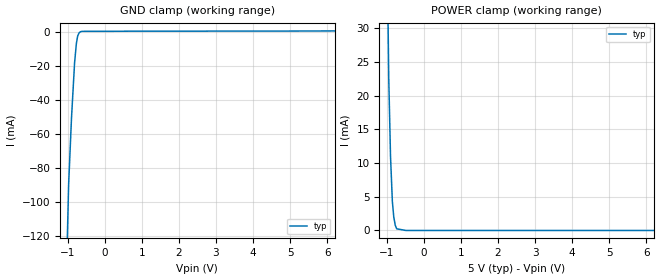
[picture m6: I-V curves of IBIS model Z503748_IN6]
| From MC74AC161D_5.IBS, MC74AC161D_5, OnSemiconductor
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| (C) COPYRIGHT 1993-2000
| MENTOR GRAPHICS CORPORATION
| ICX STANDARD LIBRARY, ICX PROJECT MODELING,
| ICX CUSTOM MODELING, ICX VENDOR MODEL
| ALL RIGHTS RESERVED.
| THE FOLLOWING ARE TRADEMARKS OR SERVICE MARKS OF
| MENTOR GRAPHICS CORPORATION:ICX (R), ICX STANDARD
| LIBRARY(R), ICX PROJECT MODELING(R), ICX CUSTOM
| MODELING(R), qualityIBIS(TM), MODELVIEWER(TM),
| AND MODELEDITOR(TM)
| ALL COPIES OF SOFTWARE, INCLUDING BUT NOT LIMITED TO
| ANY MODIFICATIONS, ENHANCEMENTS OR DERIVATIVE WORKS,
| MUST CONTAIN ALL MENTOR GRAPHICS CORPORATION'S
| NOTICES AND LEGENDS, INCLUDING THOSE EMBEDDED IN
| SOFTWARE AND THOSE AFFIXED TO SOFTWARE MEDIUM
| AND CONTAINER, AS RECEIVED FROM MENTOR GRAPHICS
| CORPORATION.
| Model Application Version 1.89 2/18/99.
[Model] Z503748_IN6
Model_type Input
Vinl = 1.500V
Vinh = 3.500V
C_comp 4.000pF NA NA
| variable typ   min   max
[Voltage Range] 5.000V NA NA
[GND Clamp Reference] 0.000V NA NA
[POWER Clamp Reference] 5.000V NA NA
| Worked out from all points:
|   GND clamp passes 1 mA (typ) near -0.69 V on its own axis
|   POWER clamp passes 1 mA (typ) near -0.78 V on its own axis
[GND Clamp]
-5V       -3.054A    NA         NA
-1.144V   -244.3mA   NA         NA
-971.4mV  -90.03mA   NA         NA
-894.4mV  -51.05mA   NA         NA
-810.5mV  -18.27mA   NA         NA
-762.9mV  -7.051mA   NA         NA
-728.5mV  -2.704mA   NA         NA
-687mV    -686.9uA   NA         NA
-648.3mV  -82.83uA   NA         NA
10V       601.4uA    NA         NA
[POWER Clamp]
-5V       3.097A     NA         NA
-1.226V   191.7mA    NA         NA
-1.055V   72.06mA    NA         NA
-947mV    22.8mA     NA         NA
-899mV    11.06mA    NA         NA
-849mV    4.316mA    NA         NA
-811mV    2.004mA    NA         NA
-771mV    776.2uA    NA         NA
-732mV    250.3uA    NA         NA
-488mV    0A         NA         NA
10V       0A         NA         NA
